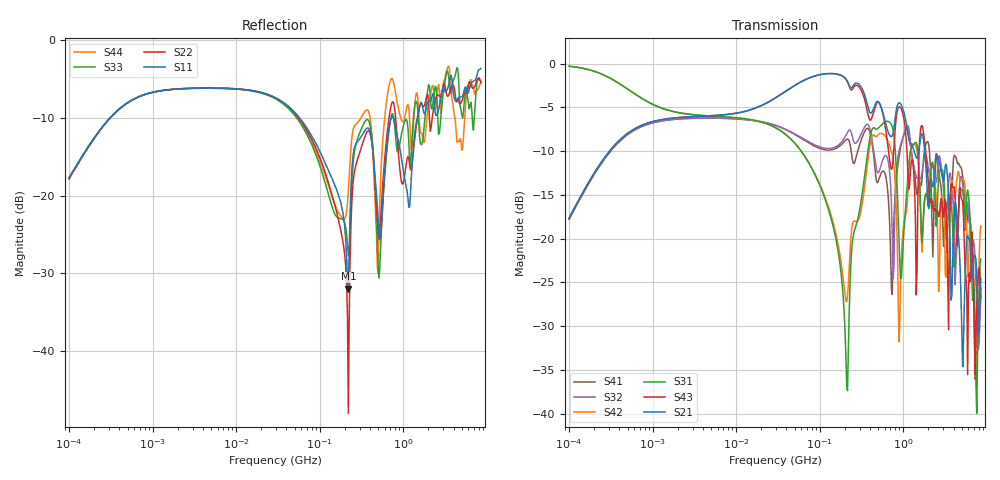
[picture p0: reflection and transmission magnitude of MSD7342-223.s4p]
# MHz S MA R 50
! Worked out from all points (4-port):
!   498 points, 100 kHz to 8.5 GHz, reference 50 ohm
!   strongest paths, dB at 100 kHz, 1.698 MHz, 29.49 MHz, 500.7 MHz, 8.5 GHz:
!     S21: -17.7, -6.2, -3.9, -4.3, -24.6
!     S43: -17.7, -6.2, -3.9, -4.4, -26.8
!     S31: -0.3, -5.4, -7.3, -7.4, -22.3
!     S42: -0.3, -5.5, -7.3, -8.1, -18.5
!     S32: -17.8, -6.4, -7.0, -12.5, -26.5
!     S41: -17.8, -6.4, -7.1, -13.5, -25.7
!   lowest |S11| = -32.0 dB at 220 MHz (marker M1), VSWR 1.05, Z = 52.5 + j0.425 ohm
!   |S11| at or under -10 dB: start of sweep to 310.4 kHz; 57.21 MHz to 720.3 MHz (663 MHz wide, 171 % of centre); 758.7 MHz to 1.472 GHz (713.1 MHz wide, 63.9 % of centre)
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0.1  0.1286 73.5  0.1311 74.2  0.9655 -7.5  0.129 -106.1
     0.1311 74.2  0.1277 73.8  0.1291 -106.1  0.9668 -7.4
     0.9655 -7.5  0.1291 -106.1  0.1312 73.8  0.1311 73.9
     0.129 -106.1  0.9668 -7.4  0.1311 73.9  0.1288 73.7
29.48958  0.426 -29.7  0.6362 11.2  0.4313 -37.3  0.4432 141.0
          0.6362 11.2  0.4249 -32.8  0.4449 138.2  0.4302 -37.4
          0.4313 -37.3  0.4449 138.2  0.419 -32.6  0.6375 10.7
          0.4432 141.0  0.4302 -37.4  0.6375 10.7  0.422 -29.6
220.0307  0.0252 9.2  0.7736 -51.6  0.02267 -75.2  0.3689 19.4
          0.7736 -51.6  0.003982 -30.6  0.4121 23.3  0.05457 -94.8
          0.02267 -75.2  0.4121 23.3  0.04146 -4.9  0.7655 -56.5
          0.3689 19.4  0.05457 -94.8  0.7655 -56.5  0.1067 39.5
436.5497  0.1861 -121.0  0.5455 -82.0  0.4299 18.3  0.3149 -71.2
          0.5455 -82.0  0.179 -115.8  0.3329 -66.9  0.3921 20.8
          0.4299 18.3  0.3329 -66.9  0.1911 -123.7  0.5183 -85.6
          0.3149 -71.2  0.3921 20.8  0.5183 -85.6  0.1762 -102.6
5383.342  0.4779 1.0  0.04188 111.0  0.1544 -33.7  0.194 -57.5
          0.04188 111.0  0.4528 -13.8  0.1436 -57.9  0.2124 -73.6
          0.1544 -33.7  0.1436 -57.9  0.4034 6.6  0.09605 -50.6
          0.194 -57.5  0.2124 -73.6  0.09605 -50.6  0.2866 -8.0
6764.496  0.5371 -173.8  0.05897 -127.2  0.04436 120.8  0.0738 93.4
          0.05897 -127.2  0.4887 166.3  0.09008 109.5  0.07177 80.6
          0.04436 120.8  0.09008 109.5  0.2897 163.3  0.09619 173.1
          0.0738 93.4  0.07177 80.6  0.09619 173.1  0.506 135.9
8500  0.6559 -53.3  0.05915 58.8  0.0764 -14.8  0.05217 -9.5
      0.05915 58.8  0.5305 -72.4  0.04755 14.3  0.1183 -55.0
      0.0764 -14.8  0.04755 14.3  0.5419 -52.5  0.04572 -13.7
      0.05217 -9.5  0.1183 -55.0  0.04572 -13.7  0.5303 -79.1
